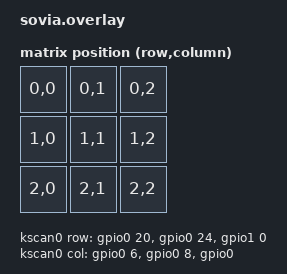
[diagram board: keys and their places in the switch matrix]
#include <dt-bindings/zmk/matrix_transform.h>
/ {
    kscan0: kscan0 {
        compatible = "zmk,kscan-gpio-matrix";
        diode-direction = "col2row";
        wakeup-source;

        col-gpios
            = <&gpio0 6 GPIO_ACTIVE_HIGH>
            , <&gpio0 8 GPIO_ACTIVE_HIGH>
            , <&gpio0 17GPIO_ACTIVE_HIGH>
            ;

        row-gpios
            = <&gpio0 20 (GPIO_ACTIVE_HIGH | GPIO_PULL_DOWN)>
            , <&gpio0 24 (GPIO_ACTIVE_HIGH | GPIO_PULL_DOWN)>
            , <&gpio1 0 (GPIO_ACTIVE_HIGH | GPIO_PULL_DOWN)>
            ;
    };
    default_transform: keymap_transform0 {
        compatible = "zmk,matrix-transform";
        columns = <3>; // Length of the "col-gpios" array
        rows = <3>; // Length of the "row-gpios" array
        map = <
        //   Key 1 | Key 2 | Key 3
            RC(0,0) RC(0,1) RC(0,2)
        //   Key 4 | Key 5 | Key 6
            RC(1,0) RC(1,1) RC(1,2)
        //   Key 7 | Key 8 | Key 9
            RC(2,0) RC(2,1) RC(2,2)
        >;
    };
    physical_layout0: physical_layout_0 { // First physical layout, use different naming for other layouts
        compatible = "zmk,physical-layout";
        display-name = "Default Layout";
        kscan = <&kscan0>; // Label of the kscan node, optional if all layouts use the same
        transform = <&default_transform>; // Label of the matrix transform for this layout
    };
    chosen {
        zmk,physical-layout = &physical_layout0;
        // Other chosen items
    };
};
